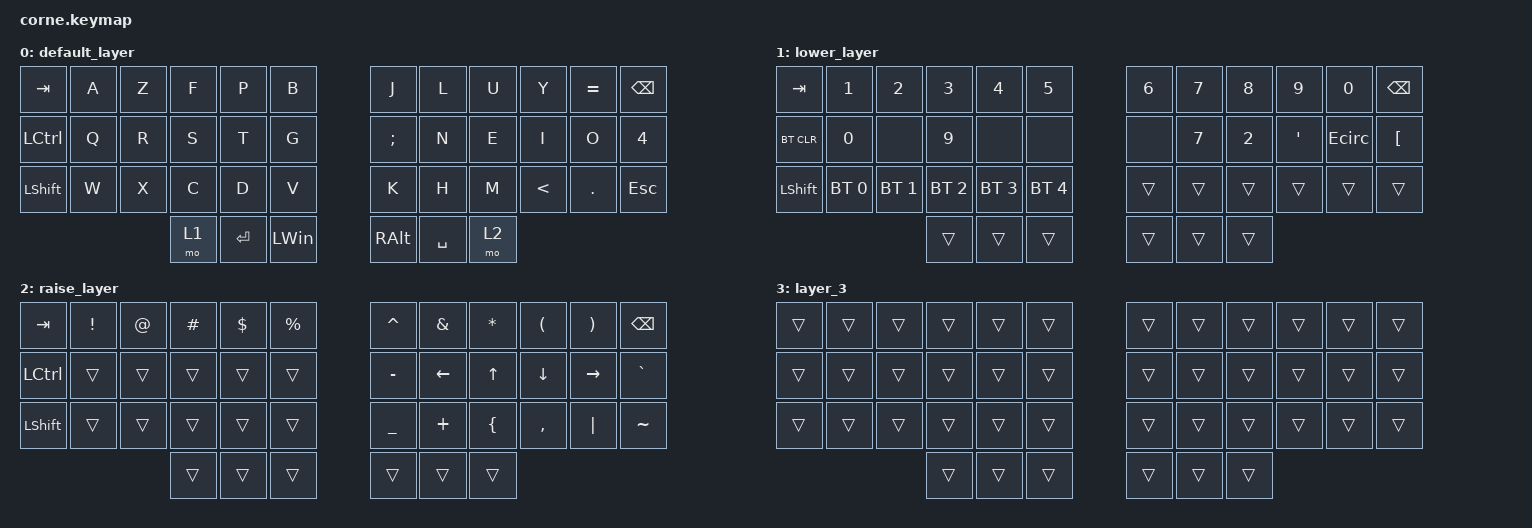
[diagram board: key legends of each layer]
/*
 * Copyright (c) 2020 The ZMK Contributors
 *
 * SPDX-License-Identifier: MIT
 */

#include <behaviors.dtsi>
#include <dt-bindings/zmk/bt.h>
#include <dt-bindings/zmk/keys.h>

/ {
    macros {
        Ecirc: Ecirc {
            compatible = "zmk,behavior-macro";
            #binding-cells = <0>;
            bindings = <&kp LEFT_BRACKET &kp E>;
            label = "ECIRC";
        };
    };

    keymap {
        compatible = "zmk,keymap";

        default_layer {
            // -----------------------------------------------------------------------------------------
            // |  TAB |  Q  |  W  |  E  |  R  |  T  |   |  Y  |  U   |  I  |  O  |  P  | BKSP |
            // | CTRL |  A  |  S  |  D  |  F  |  G  |   |  H  |  J   |  K  |  L  |  ;  |  '   |
            // | SHFT |  Z  |  X  |  C  |  V  |  B  |   |  N  |  M   |  ,  |  .  |  /  | ESC  |
            //                    | GUI | LWR | SPC |   | ENT | RSE  | ALT |

            bindings = <
&kp TAB    &kp A  &kp Z  &kp F  &kp P      &kp B       &kp J     &kp L      &kp U  &kp Y          &kp EQUAL   &kp BSPC
&kp LCTRL  &kp Q  &kp R  &kp S  &kp T      &kp G       &kp SEMI  &kp N      &kp E  &kp I          &kp O       &kp N4
&kp LSHFT  &kp W  &kp X  &kp C  &kp D      &kp V       &kp K     &kp H      &kp M  &kp LESS_THAN  &kp PERIOD  &kp ESC
                         &mo 1  &kp ENTER  &kp LWIN    &kp RALT  &kp SPACE  &mo 2
            >;
        };

        lower_layer {
            // -----------------------------------------------------------------------------------------
            // |  TAB |  1  |  2  |  3  |  4  |  5  |   |  6  |  7  |  8  |  9  |  0  | BKSP |
            // | BTCLR| BT1 | BT2 | BT3 | BT4 | BT5 |   | LFT | DWN |  UP | RGT |     |      |
            // | SHFT |     |     |     |     |     |   |     |     |     |     |     |      |
            //                    | GUI |     | SPC |   | ENT |     | ALT |

            bindings = <
&kp TAB     &kp N1        &kp N2        &kp N3        &kp N4        &kp N5          &kp N6  &kp N7  &kp N8        &kp N9    &kp N0  &kp BSPC
&bt BT_CLR  &kp NUMBER_0  &none         &kp N9        &none         &none           &none   &kp N7  &kp NUMBER_2  &kp APOS  &Ecirc  &kp LEFT_BRACKET
&kp LSHFT   &bt BT_SEL 0  &bt BT_SEL 1  &bt BT_SEL 2  &bt BT_SEL 3  &bt BT_SEL 4    &trans  &trans  &trans        &trans    &trans  &trans
                                        &trans        &trans        &trans          &trans  &trans  &trans
            >;
        };

        raise_layer {
            // -----------------------------------------------------------------------------------------
            // |  TAB |  !  |  @  |  #  |  $  |  %  |   |  ^  |  &  |  *  |  (  |  )  | BKSP |
            // | CTRL |     |     |     |     |     |   |  -  |  =  |  [  |  ]  |  \  |  `   |
            // | SHFT |     |     |     |     |     |   |  _  |  +  |  {  |  }  | "|" |  ~   |
            //                    | GUI |     | SPC |   | ENT |     | ALT |

            bindings = <
&kp TAB    &kp EXCL  &kp AT  &kp HASH  &kp DLLR  &kp PRCNT    &kp CARET  &kp AMPS        &kp ASTRK     &kp LPAR        &kp RPAR         &kp BSPC
&kp LCTRL  &trans    &trans  &trans    &trans    &trans       &kp MINUS  &kp LEFT_ARROW  &kp UP_ARROW  &kp DOWN_ARROW  &kp RIGHT_ARROW  &kp GRAVE
&kp LSHFT  &trans    &trans  &trans    &trans    &trans       &kp UNDER  &kp PLUS        &kp LBRC      &kp COMMA       &kp PIPE         &kp TILDE
                             &trans    &trans    &trans       &trans     &trans          &trans
            >;
        };

        layer_3 {
            bindings = <
&trans  &trans  &trans  &trans  &trans  &trans    &trans  &trans  &trans  &trans  &trans  &trans
&trans  &trans  &trans  &trans  &trans  &trans    &trans  &trans  &trans  &trans  &trans  &trans
&trans  &trans  &trans  &trans  &trans  &trans    &trans  &trans  &trans  &trans  &trans  &trans
                        &trans  &trans  &trans    &trans  &trans  &trans
            >;
        };
    };

    conditional_layers {
        compatible = "zmk,conditional-layers";

        Layer1and2 {
            if-layers = <1 2>;
            then-layer = <3>;
        };
    };
};
